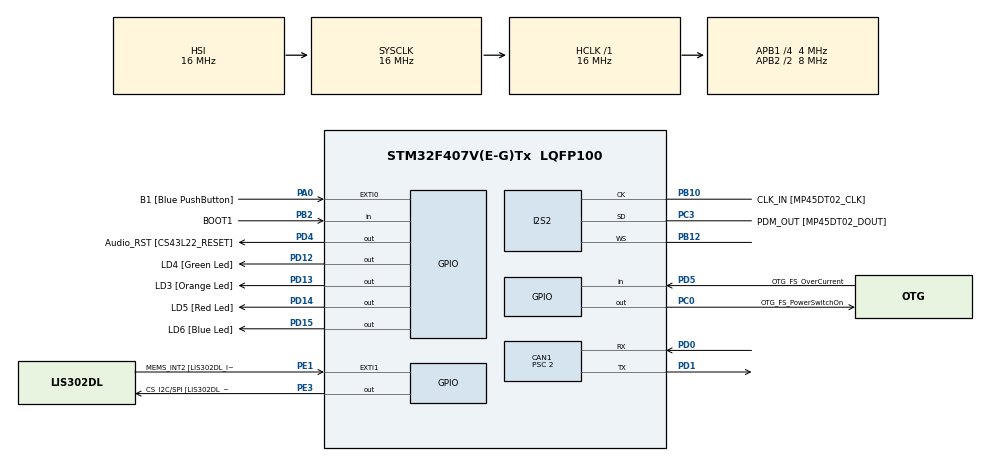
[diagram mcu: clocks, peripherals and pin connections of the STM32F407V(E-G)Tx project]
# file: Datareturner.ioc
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CAN1.BS1=CAN_BS1_2TQ
CAN1.CalculateBaudRate=500000
CAN1.CalculateTimeBit=2000
CAN1.CalculateTimeQuantum=500.0
CAN1.Prescaler=2
I2S2.AudioFreq=I2S_AUDIOFREQ_16K
I2S2.ErrorAudioFreq=0.0 %
I2S2.FullDuplexMode=I2S_FULLDUPLEXMODE_DISABLE
I2S2.Instance=SPI$Index
I2S2.Mode=I2S_MODE_SLAVE_RX
I2S2.RealAudioFreq=16.0 KHz
I2S2.VirtualMode=I2S_MODE_SLAVE
IWDG.Prescaler=IWDG_PRESCALER_16
IWDG.Reload=1000
Mcu.Family=STM32F4
Mcu.Name=STM32F407V(E-G)Tx
Mcu.Package=LQFP100
NVIC.PriorityGroup=NVIC_PRIORITYGROUP_0
PA0-WKUP.GPIO_Label=B1 [Blue PushButton]
PA0-WKUP.Signal=GPXTI0
PA10.GPIO_Label=OTG_FS_ID
PA10.GPIO_Mode=GPIO_MODE_AF_PP
PA10.GPIO_PuPd=GPIO_NOPULL
PA10.GPIO_Speed=GPIO_SPEED_FREQ_LOW
PA10.Signal=USB_OTG_FS_ID
PA11.GPIO_Label=OTG_FS_DM
PA11.GPIO_Mode=GPIO_MODE_AF_PP
PA11.GPIO_PuPd=GPIO_NOPULL
PA11.GPIO_Speed=GPIO_SPEED_FREQ_LOW
PA11.Signal=USB_OTG_FS_DM
PA12.GPIO_Label=OTG_FS_DP
PA12.GPIO_Mode=GPIO_MODE_AF_PP
PA12.GPIO_PuPd=GPIO_NOPULL
PA12.GPIO_Speed=GPIO_SPEED_FREQ_LOW
PA12.Signal=USB_OTG_FS_DP
PA13.GPIO_Label=SWDIO
PA13.Signal=SYS_JTMS-SWDIO
PA14.GPIO_Label=SWCLK
PA14.Signal=SYS_JTCK-SWCLK
PA4.GPIO_Label=I2S3_WS [CS43L22_LRCK]
PA4.GPIO_Mode=GPIO_MODE_AF_PP
PA4.GPIO_PuPd=GPIO_NOPULL
PA4.GPIO_Speed=GPIO_SPEED_FREQ_LOW
PA4.Signal=I2S3_WS
PA5.GPIO_Label=SPI1_SCK [LIS302DL_SCL/SPC]
PA5.GPIO_Mode=GPIO_MODE_AF_PP
PA5.GPIO_PuPd=GPIO_NOPULL
PA5.GPIO_Speed=GPIO_SPEED_FREQ_LOW
PA5.Signal=SPI1_SCK
PA6.GPIO_Label=SPI1_MISO [LIS302DL_SDO]
PA6.GPIO_Mode=GPIO_MODE_AF_PP
PA6.GPIO_PuPd=GPIO_NOPULL
PA6.GPIO_Speed=GPIO_SPEED_FREQ_LOW
PA6.Signal=SPI1_MISO
PA7.GPIO_Label=SPI1_MOSI [LIS302DL_SDA/SDI/SDO]
PA7.GPIO_Mode=GPIO_MODE_AF_PP
PA7.GPIO_PuPd=GPIO_NOPULL
PA7.GPIO_Speed=GPIO_SPEED_FREQ_LOW
PA7.Signal=SPI1_MOSI
PA9.GPIO_Label=VBUS_FS
PA9.GPIO_Mode=GPIO_MODE_INPUT
PA9.GPIO_PuPd=GPIO_NOPULL
PA9.Signal=USB_OTG_FS_VBUS
PB10.GPIO_Label=CLK_IN [MP45DT02_CLK]
PB10.GPIO_Mode=GPIO_MODE_AF_PP
PB10.GPIO_PuPd=GPIO_NOPULL
PB10.GPIO_Speed=GPIO_SPEED_FREQ_LOW
PB10.Mode=Half_Duplex_Slave
PB10.Signal=I2S2_CK
PB12.Mode=Half_Duplex_Slave
PB12.Signal=I2S2_WS
PB2.GPIO_Label=BOOT1
PB2.GPIO_Mode=GPIO_MODE_INPUT
PB2.GPIO_PuPd=GPIO_NOPULL
PB2.Signal=GPIO_Input
PB3.GPIO_Label=SWO
PB3.Signal=SYS_JTDO-SWO
PB6.GPIO_Label=Audio_SCL [CS43L22_SCL]
PB6.GPIO_Mode=GPIO_MODE_AF_OD
PB6.GPIO_PuPd=GPIO_NOPULL
PB6.GPIO_Speed=GPIO_SPEED_FREQ_LOW
PB6.Signal=I2C1_SCL
PB9.GPIO_Label=Audio_SDA [CS43L22_SDA]
PB9.GPIO_Mode=GPIO_MODE_AF_OD
PB9.GPIO_PuPd=GPIO_NOPULL
PB9.GPIO_Speed=GPIO_SPEED_FREQ_LOW
PB9.Signal=I2C1_SDA
PC0.GPIO_Label=OTG_FS_PowerSwitchOn
PC0.GPIO_PuPd=GPIO_NOPULL
PC0.GPIO_Speed=GPIO_SPEED_FREQ_LOW
PC0.PinState=GPIO_PIN_SET
PC0.Signal=GPIO_Output
PC10.GPIO_Label=I2S3_SCK [CS43L22_SCLK]
PC10.GPIO_Mode=GPIO_MODE_AF_PP
PC10.GPIO_PuPd=GPIO_NOPULL
PC10.GPIO_Speed=GPIO_SPEED_FREQ_LOW
PC10.Signal=I2S3_CK
PC12.GPIO_Label=I2S3_SD [CS43L22_SDIN]
PC12.GPIO_Mode=GPIO_MODE_AF_PP
PC12.GPIO_PuPd=GPIO_NOPULL
PC12.GPIO_Speed=GPIO_SPEED_FREQ_LOW
PC12.Signal=I2S3_SD
PC14-OSC32_IN.GPIO_Label=PC14-OSC32_IN
PC14-OSC32_IN.Signal=RCC_OSC32_IN
PC15-OSC32_OUT.GPIO_Label=PC15-OSC32_OUT
PC15-OSC32_OUT.Signal=RCC_OSC32_OUT
PC3.GPIO_Label=PDM_OUT [MP45DT02_DOUT]
PC3.GPIO_Mode=GPIO_MODE_AF_PP
PC3.GPIO_PuPd=GPIO_NOPULL
PC3.GPIO_Speed=GPIO_SPEED_FREQ_LOW
PC3.Mode=Half_Duplex_Slave
PC3.Signal=I2S2_SD
PC7.GPIO_Label=I2S3_MCK [CS43L22_MCLK]
PC7.GPIO_Mode=GPIO_MODE_AF_PP
PC7.GPIO_PuPd=GPIO_NOPULL
PC7.GPIO_Speed=GPIO_SPEED_FREQ_LOW
PC7.Signal=I2S3_MCK
PD0.Mode=CAN_Activate
PD0.Signal=CAN1_RX
PD1.Mode=CAN_Activate
PD1.Signal=CAN1_TX
PD12.GPIO_Label=LD4 [Green Led]
PD12.GPIO_PuPd=GPIO_NOPULL
PD12.GPIO_Speed=GPIO_SPEED_FREQ_LOW
PD12.Signal=GPIO_Output
PD13.GPIO_Label=LD3 [Orange Led]
PD13.GPIO_PuPd=GPIO_NOPULL
PD13.GPIO_Speed=GPIO_SPEED_FREQ_LOW
PD13.Signal=GPIO_Output
PD14.GPIO_Label=LD5 [Red Led]
PD14.GPIO_PuPd=GPIO_NOPULL
PD14.GPIO_Speed=GPIO_SPEED_FREQ_LOW
PD14.Signal=GPIO_Output
PD15.GPIO_Label=LD6 [Blue Led]
PD15.GPIO_PuPd=GPIO_NOPULL
PD15.GPIO_Speed=GPIO_SPEED_FREQ_LOW
PD15.Signal=GPIO_Output
PD4.GPIO_Label=Audio_RST [CS43L22_RESET]
PD4.GPIO_PuPd=GPIO_NOPULL
PD4.GPIO_Speed=GPIO_SPEED_FREQ_LOW
PD4.Signal=GPIO_Output
PD5.GPIO_Label=OTG_FS_OverCurrent
PD5.GPIO_Mode=GPIO_MODE_INPUT
PD5.GPIO_PuPd=GPIO_NOPULL
PD5.Signal=GPIO_Input
PE1.GPIO_Label=MEMS_INT2 [LIS302DL_INT2]
PE1.GPIO_ModeDefaultEXTI=GPIO_MODE_EVT_RISING
PE1.GPIO_PuPd=GPIO_NOPULL
PE1.Signal=GPXTI1
PE3.GPIO_Label=CS_I2C/SPI [LIS302DL_CS_I2C/SPI]
PE3.GPIO_PuPd=GPIO_NOPULL
PE3.GPIO_Speed=GPIO_SPEED_FREQ_LOW
PE3.Signal=GPIO_Output
PH0-OSC_IN.GPIO_Label=PH0-OSC_IN
PH0-OSC_IN.Signal=RCC_OSC_IN
PH1-OSC_OUT.GPIO_Label=PH1-OSC_OUT
PH1-OSC_OUT.Signal=RCC_OSC_OUT
ProjectManager.HeapSize=0x200
ProjectManager.StackSize=0x400
ProjectManager.TargetToolchain=STM32CubeIDE
RCC.48MHZClocksFreq_Value=14285714.285714285
RCC.AHBFreq_Value=16000000
RCC.APB1CLKDivider=RCC_HCLK_DIV4
RCC.APB1Freq_Value=4000000
RCC.APB1TimFreq_Value=8000000
RCC.APB2CLKDivider=RCC_HCLK_DIV2
RCC.APB2Freq_Value=8000000
RCC.APB2TimFreq_Value=16000000
RCC.CortexFreq_Value=16000000
RCC.HCLKFreq_Value=16000000
RCC.HSE_VALUE=8000000
RCC.HSI_VALUE=16000000
RCC.LSE_VALUE=32768
RCC.PLLM=8
RCC.PLLN=50
RCC.PLLP=RCC_PLLP_DIV4
RCC.PLLQ=7
RCC.SYSCLKFreq_VALUE=16000000
RCC.VCOOutputFreq_Value=100000000
VP_IWDG_VS_IWDG.Mode=IWDG_Activate
board=STM32F407G-DISC1

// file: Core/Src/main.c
/* USER CODE BEGIN Header */
/**
  ******************************************************************************
  * @file           : main.c
  * @brief          : Main program body
  ******************************************************************************
  * @attention
  *
  * Copyright (c) 2025 STMicroelectronics.
  * All rights reserved.
  *
  * This software is licensed under terms that can be found in the LICENSE file
  * in the root directory of this software component.
  * If no LICENSE file comes with this software, it is provided AS-IS.
  *
  ******************************************************************************
  */
/* USER CODE END Header */
#include "main.h"

CAN_HandleTypeDef hcan1;

I2S_HandleTypeDef hi2s2;

IWDG_HandleTypeDef hiwdg;

void SystemClock_Config(void);
static void MX_GPIO_Init(void);
static void MX_CAN1_Init(void);
static void MX_I2S2_Init(void);
static void MX_IWDG_Init(void);

int main(void)
{

  /* MCU Configuration--------------------------------------------------------*/

  /* Reset of all peripherals, Initializes the Flash interface and the Systick. */
  HAL_Init();

  /* Configure the system clock */
  SystemClock_Config();

  /* Initialize all configured peripherals */
  MX_GPIO_Init();
  MX_CAN1_Init();
  MX_I2S2_Init();
  MX_IWDG_Init();
  /* USER CODE BEGIN 2 */

  CAN_FilterTypeDef sFilterConfig;
  sFilterConfig.FilterBank = 0;
  sFilterConfig.FilterMode = CAN_FILTERMODE_IDMASK;
  sFilterConfig.FilterScale = CAN_FILTERSCALE_32BIT;
  sFilterConfig.FilterIdHigh = 0x0000;
  sFilterConfig.FilterIdLow = 0x0000;
  sFilterConfig.FilterMaskIdHigh = 0x0000;
  sFilterConfig.FilterMaskIdLow = 0x0000;
  sFilterConfig.FilterFIFOAssignment = CAN_RX_FIFO0;
  sFilterConfig.FilterActivation = ENABLE;
  sFilterConfig.SlaveStartFilterBank = 14;

  uint32_t TxMailbox;
  volatile CAN_TxHeaderTypeDef FCU_Input_TX;
  FCU_Input_TX.DLC = 8;
  FCU_Input_TX.StdId = 0x10;
  FCU_Input_TX.RTR = CAN_RTR_DATA;
  FCU_Input_TX.IDE = CAN_ID_STD;

  volatile CAN_TxHeaderTypeDef AudioTX;
  AudioTX.DLC = 8;
  AudioTX.StdId = 0x10;
  AudioTX.RTR = CAN_RTR_DATA;
  AudioTX.IDE = CAN_ID_STD;

  union FCU_DrivingSensors {
  	uint8_t raw_data[8];
  	struct {
  		uint16_t FCU_steering :12;
  		uint16_t FCU_pBrake_F :11;
  		uint16_t FCU_egas :10;
  		uint16_t FCU_gas1 :10;
  		uint16_t FCU_gas2 :10;
  		uint16_t FCU_brake_pedal_sens :10;
  	}__attribute__((packed));
  };
  union FCU_DrivingSensors DrivingSensors;

  union AudioData {
    	uint8_t raw_data[8];
    	struct {
    		int16_t Data0;
    		int16_t Data1;
    		int16_t Data2;
    		int16_t Data3;
    	}__attribute__((packed));
    };
  union AudioData AudioData;

  HAL_CAN_ConfigFilter(&hcan1,&sFilterConfig);
  HAL_CAN_Start(&hcan1);
  HAL_CAN_ActivateNotification(&hcan1,CAN_IT_RX_FIFO0_MSG_PENDING);
  int sof = 0;

  HAL_StatusTypeDef state;
  volatile int16_t value = 1;
  volatile int16_t signal[160] = {0};
  /* USER CODE END 2 */

  /* Infinite loop */
  /* USER CODE BEGIN WHILE */
  while (1)
  {

	  int nsamples = sizeof(signal) / sizeof(signal[5]);
	  state = HAL_I2S_Receive(&hi2s2, (uint16_t*)signal, nsamples, 100);
	  for (int i = 0; i < nsamples; i++){
		  if (signal[i] == 0){
			  if (signal[i+1] == 32767){
				  if (signal[i+2] == 0){
					  if (signal[i+3] == -32768){
						  sof = i+4;
						  HAL_IWDG_Refresh(&hiwdg);
					  }
				  }
			  }
		  }
	  }
	  if (sof != -1){
		  AudioTX.StdId = signal[sof];
		  AudioData.Data0 = signal[sof+1];
		  AudioData.Data1 = signal[sof+2];
		  AudioData.Data2 = signal[sof+3];
		  AudioData.Data3 = signal[sof+4];
		  HAL_CAN_AddTxMessage(&hcan1, &AudioTX, AudioData.raw_data, &TxMailbox);
		  sof = -1;
	  }

    /* USER CODE END WHILE */

  }
}

void SystemClock_Config(void)
{
  RCC_OscInitTypeDef RCC_OscInitStruct = {0};
  RCC_ClkInitTypeDef RCC_ClkInitStruct = {0};

  /** Macro to configure the PLL multiplication factor
  */
  __HAL_RCC_PLL_PLLM_CONFIG(8);

  /** Macro to configure the PLL clock source
  */
  __HAL_RCC_PLL_PLLSOURCE_CONFIG(RCC_PLLSOURCE_HSI);

  /** Configure the main internal regulator output voltage
  */
  __HAL_RCC_PWR_CLK_ENABLE();
  __HAL_PWR_VOLTAGESCALING_CONFIG(PWR_REGULATOR_VOLTAGE_SCALE1);

  /** Initializes the RCC Oscillators according to the specified parameters
  * in the RCC_OscInitTypeDef structure.
  */
  RCC_OscInitStruct.OscillatorType = RCC_OSCILLATORTYPE_HSI|RCC_OSCILLATORTYPE_LSI;
  RCC_OscInitStruct.HSIState = RCC_HSI_ON;
  RCC_OscInitStruct.HSICalibrationValue = RCC_HSICALIBRATION_DEFAULT;
  RCC_OscInitStruct.LSIState = RCC_LSI_ON;
  RCC_OscInitStruct.PLL.PLLState = RCC_PLL_NONE;
  RCC_OscInitStruct.PLL.PLLSource = RCC_PLLSOURCE_HSI;
  if (HAL_RCC_OscConfig(&RCC_OscInitStruct) != HAL_OK)
  {
    Error_Handler();
  }

  /** Initializes the CPU, AHB and APB buses clocks
  */
  RCC_ClkInitStruct.ClockType = RCC_CLOCKTYPE_HCLK|RCC_CLOCKTYPE_SYSCLK
                              |RCC_CLOCKTYPE_PCLK1|RCC_CLOCKTYPE_PCLK2;
  RCC_ClkInitStruct.SYSCLKSource = RCC_SYSCLKSOURCE_HSI;
  RCC_ClkInitStruct.AHBCLKDivider = RCC_SYSCLK_DIV1;
  RCC_ClkInitStruct.APB1CLKDivider = RCC_HCLK_DIV4;
  RCC_ClkInitStruct.APB2CLKDivider = RCC_HCLK_DIV2;

  if (HAL_RCC_ClockConfig(&RCC_ClkInitStruct, FLASH_LATENCY_0) != HAL_OK)
  {
    Error_Handler();
  }
}

static void MX_CAN1_Init(void)
{

  hcan1.Instance = CAN1;
  hcan1.Init.Prescaler = 2;
  hcan1.Init.Mode = CAN_MODE_NORMAL;
  hcan1.Init.SyncJumpWidth = CAN_SJW_1TQ;
  hcan1.Init.TimeSeg1 = CAN_BS1_2TQ;
  hcan1.Init.TimeSeg2 = CAN_BS2_1TQ;
  hcan1.Init.TimeTriggeredMode = DISABLE;
  hcan1.Init.AutoBusOff = DISABLE;
  hcan1.Init.AutoWakeUp = DISABLE;
  hcan1.Init.AutoRetransmission = DISABLE;
  hcan1.Init.ReceiveFifoLocked = DISABLE;
  hcan1.Init.TransmitFifoPriority = DISABLE;
  if (HAL_CAN_Init(&hcan1) != HAL_OK)
  {
    Error_Handler();
  }

}

static void MX_I2S2_Init(void)
{

  hi2s2.Instance = SPI2;
  hi2s2.Init.Mode = I2S_MODE_SLAVE_RX;
  hi2s2.Init.Standard = I2S_STANDARD_PHILIPS;
  hi2s2.Init.DataFormat = I2S_DATAFORMAT_16B;
  hi2s2.Init.MCLKOutput = I2S_MCLKOUTPUT_DISABLE;
  hi2s2.Init.AudioFreq = I2S_AUDIOFREQ_16K;
  hi2s2.Init.CPOL = I2S_CPOL_LOW;
  hi2s2.Init.ClockSource = I2S_CLOCK_PLL;
  hi2s2.Init.FullDuplexMode = I2S_FULLDUPLEXMODE_DISABLE;
  if (HAL_I2S_Init(&hi2s2) != HAL_OK)
  {
    Error_Handler();
  }

}

static void MX_IWDG_Init(void)
{

  hiwdg.Instance = IWDG;
  hiwdg.Init.Prescaler = IWDG_PRESCALER_16;
  hiwdg.Init.Reload = 1000;
  if (HAL_IWDG_Init(&hiwdg) != HAL_OK)
  {
    Error_Handler();
  }

}

static void MX_GPIO_Init(void)
{
  GPIO_InitTypeDef GPIO_InitStruct = {0};

  /* GPIO Ports Clock Enable */
  __HAL_RCC_GPIOE_CLK_ENABLE();
  __HAL_RCC_GPIOC_CLK_ENABLE();
  __HAL_RCC_GPIOH_CLK_ENABLE();
  __HAL_RCC_GPIOA_CLK_ENABLE();
  __HAL_RCC_GPIOB_CLK_ENABLE();
  __HAL_RCC_GPIOD_CLK_ENABLE();

  /*Configure GPIO pin Output Level */
  HAL_GPIO_WritePin(CS_I2C_SPI_GPIO_Port, CS_I2C_SPI_Pin, GPIO_PIN_RESET);

  /*Configure GPIO pin Output Level */
  HAL_GPIO_WritePin(OTG_FS_PowerSwitchOn_GPIO_Port, OTG_FS_PowerSwitchOn_Pin, GPIO_PIN_SET);

  /*Configure GPIO pin Output Level */
  HAL_GPIO_WritePin(GPIOD, LD4_Pin|LD3_Pin|LD5_Pin|LD6_Pin
                          |Audio_RST_Pin, GPIO_PIN_RESET);

  /*Configure GPIO pin : CS_I2C_SPI_Pin */
  GPIO_InitStruct.Pin = CS_I2C_SPI_Pin;
  GPIO_InitStruct.Mode = GPIO_MODE_OUTPUT_PP;
  GPIO_InitStruct.Pull = GPIO_NOPULL;
  GPIO_InitStruct.Speed = GPIO_SPEED_FREQ_LOW;
  HAL_GPIO_Init(CS_I2C_SPI_GPIO_Port, &GPIO_InitStruct);

  /*Configure GPIO pin : OTG_FS_PowerSwitchOn_Pin */
  GPIO_InitStruct.Pin = OTG_FS_PowerSwitchOn_Pin;
  GPIO_InitStruct.Mode = GPIO_MODE_OUTPUT_PP;
  GPIO_InitStruct.Pull = GPIO_NOPULL;
  GPIO_InitStruct.Speed = GPIO_SPEED_FREQ_LOW;
  HAL_GPIO_Init(OTG_FS_PowerSwitchOn_GPIO_Port, &GPIO_InitStruct);

  /*Configure GPIO pin : B1_Pin */
  GPIO_InitStruct.Pin = B1_Pin;
  GPIO_InitStruct.Mode = GPIO_MODE_IT_RISING;
  GPIO_InitStruct.Pull = GPIO_NOPULL;
  HAL_GPIO_Init(B1_GPIO_Port, &GPIO_InitStruct);

  /*Configure GPIO pin : I2S3_WS_Pin */
  GPIO_InitStruct.Pin = I2S3_WS_Pin;
  GPIO_InitStruct.Mode = GPIO_MODE_AF_PP;
  GPIO_InitStruct.Pull = GPIO_NOPULL;
  GPIO_InitStruct.Speed = GPIO_SPEED_FREQ_LOW;
  GPIO_InitStruct.Alternate = GPIO_AF6_SPI3;
  HAL_GPIO_Init(I2S3_WS_GPIO_Port, &GPIO_InitStruct);

  /*Configure GPIO pins : SPI1_SCK_Pin SPI1_MISO_Pin SPI1_MOSI_Pin */
  GPIO_InitStruct.Pin = SPI1_SCK_Pin|SPI1_MISO_Pin|SPI1_MOSI_Pin;
  GPIO_InitStruct.Mode = GPIO_MODE_AF_PP;
  GPIO_InitStruct.Pull = GPIO_NOPULL;
  GPIO_InitStruct.Speed = GPIO_SPEED_FREQ_LOW;
  GPIO_InitStruct.Alternate = GPIO_AF5_SPI1;
  HAL_GPIO_Init(GPIOA, &GPIO_InitStruct);

  /*Configure GPIO pin : BOOT1_Pin */
  GPIO_InitStruct.Pin = BOOT1_Pin;
  GPIO_InitStruct.Mode = GPIO_MODE_INPUT;
  GPIO_InitStruct.Pull = GPIO_NOPULL;
  HAL_GPIO_Init(BOOT1_GPIO_Port, &GPIO_InitStruct);

  /*Configure GPIO pins : LD4_Pin LD3_Pin LD5_Pin LD6_Pin
                           Audio_RST_Pin */
  GPIO_InitStruct.Pin = LD4_Pin|LD3_Pin|LD5_Pin|LD6_Pin
                          |Audio_RST_Pin;
  GPIO_InitStruct.Mode = GPIO_MODE_OUTPUT_PP;
  GPIO_InitStruct.Pull = GPIO_NOPULL;
  GPIO_InitStruct.Speed = GPIO_SPEED_FREQ_LOW;
  HAL_GPIO_Init(GPIOD, &GPIO_InitStruct);

  /*Configure GPIO pins : I2S3_MCK_Pin I2S3_SCK_Pin I2S3_SD_Pin */
  GPIO_InitStruct.Pin = I2S3_MCK_Pin|I2S3_SCK_Pin|I2S3_SD_Pin;
  GPIO_InitStruct.Mode = GPIO_MODE_AF_PP;
  GPIO_InitStruct.Pull = GPIO_NOPULL;
  GPIO_InitStruct.Speed = GPIO_SPEED_FREQ_LOW;
  GPIO_InitStruct.Alternate = GPIO_AF6_SPI3;
  HAL_GPIO_Init(GPIOC, &GPIO_InitStruct);

  /*Configure GPIO pin : VBUS_FS_Pin */
  GPIO_InitStruct.Pin = VBUS_FS_Pin;
  GPIO_InitStruct.Mode = GPIO_MODE_INPUT;
  GPIO_InitStruct.Pull = GPIO_NOPULL;
  HAL_GPIO_Init(VBUS_FS_GPIO_Port, &GPIO_InitStruct);

  /*Configure GPIO pins : OTG_FS_ID_Pin OTG_FS_DM_Pin OTG_FS_DP_Pin */
  GPIO_InitStruct.Pin = OTG_FS_ID_Pin|OTG_FS_DM_Pin|OTG_FS_DP_Pin;
  GPIO_InitStruct.Mode = GPIO_MODE_AF_PP;
  GPIO_InitStruct.Pull = GPIO_NOPULL;
  GPIO_InitStruct.Speed = GPIO_SPEED_FREQ_LOW;
  GPIO_InitStruct.Alternate = GPIO_AF10_OTG_FS;
  HAL_GPIO_Init(GPIOA, &GPIO_InitStruct);

  /*Configure GPIO pin : OTG_FS_OverCurrent_Pin */
  GPIO_InitStruct.Pin = OTG_FS_OverCurrent_Pin;
  GPIO_InitStruct.Mode = GPIO_MODE_INPUT;
  GPIO_InitStruct.Pull = GPIO_NOPULL;
  HAL_GPIO_Init(OTG_FS_OverCurrent_GPIO_Port, &GPIO_InitStruct);

  /*Configure GPIO pins : Audio_SCL_Pin Audio_SDA_Pin */
  GPIO_InitStruct.Pin = Audio_SCL_Pin|Audio_SDA_Pin;
  GPIO_InitStruct.Mode = GPIO_MODE_AF_OD;
  GPIO_InitStruct.Pull = GPIO_NOPULL;
  GPIO_InitStruct.Speed = GPIO_SPEED_FREQ_LOW;
  GPIO_InitStruct.Alternate = GPIO_AF4_I2C1;
  HAL_GPIO_Init(GPIOB, &GPIO_InitStruct);

  /*Configure GPIO pin : MEMS_INT2_Pin */
  GPIO_InitStruct.Pin = MEMS_INT2_Pin;
  GPIO_InitStruct.Mode = GPIO_MODE_EVT_RISING;
  GPIO_InitStruct.Pull = GPIO_NOPULL;
  HAL_GPIO_Init(MEMS_INT2_GPIO_Port, &GPIO_InitStruct);

}

void Error_Handler(void)
{
  __disable_irq();
  while (1)
  {
  }
}
